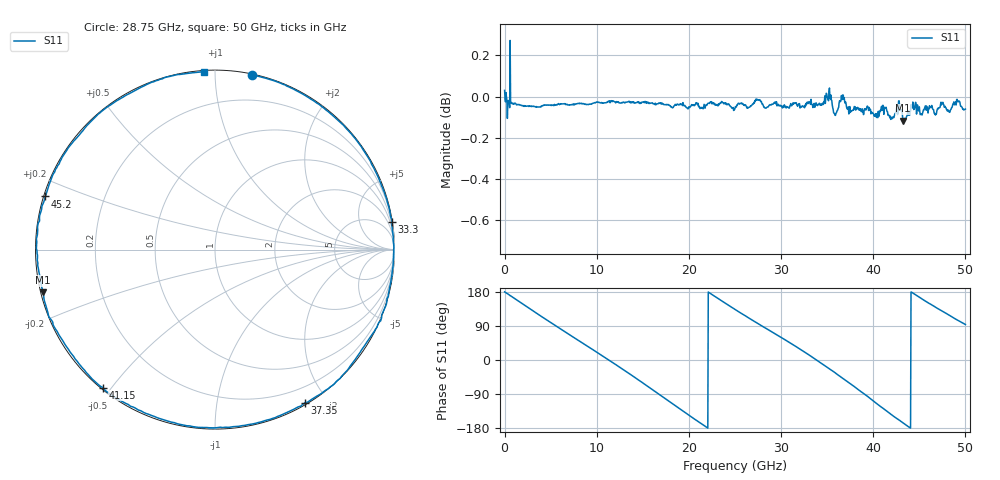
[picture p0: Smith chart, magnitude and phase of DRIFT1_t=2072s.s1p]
!Created with skrf (http://scikit-rf.org).
# Hz S RI R 50.0
!freq ReS11 ImS11
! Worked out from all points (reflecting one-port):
!   1001 points, 300 kHz to 50 GHz, reference 50 ohm
!   lowest |S11| = -0.1 dB at 43.25 GHz (marker M1), VSWR 148.69, Z = 0.341 - j6.1 ohm
!   phase of S11 starts at 180 deg and turns -806 deg over the sweep
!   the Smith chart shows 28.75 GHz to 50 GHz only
!   S11 on the Smith chart (normalised r, x): 28.75 GHz: 0.01, +1.24; 33.3 GHz: 0, +13; 37.35 GHz: 0.02, -1.75; 41.15 GHz: 0.01, -0.48; 45.2 GHz: 0.01, +0.15; 50 GHz: 0.01, +0.94
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300000  -1.003 0.00332
1.65029e9  -0.887 0.4516
3.500279e9  -0.5394 0.8351
6.250262e9  0.1877 0.9781
9.600242e9  0.8884 0.4511
1.250022e10  0.9403 -0.3298
1.400022e10  0.7194 -0.6903
1.580021e10  0.2758 -0.9573
1.72502e10  -0.1516 -0.9839
1.875019e10  -0.5658 -0.8195
2.040018e10  -0.8832 -0.459
2.190017e10  -0.9943 -0.0481
2.345016e10  -0.9218 0.378
2.500015e10  -0.6789 0.7254
2.700014e10  -0.2297 0.9692
2.875013e10  0.2083 0.9732
3.125011e10  0.7504 0.6542
3.33001e10  0.9841 0.1538
3.525009e10  0.9231 -0.3969
3.735008e10  0.502 -0.8537
3.750008e10  0.4628 -0.8765
3.935006e10  -0.0927 -0.9904
4.115005e10  -0.6235 -0.7692
4.325004e10  -0.9577 -0.2372
4.375004e10  -0.9879 -0.0891
4.520003e10  -0.9447 0.2964
4.755001e10  -0.6142 0.7851
5e10  -0.064 0.991
